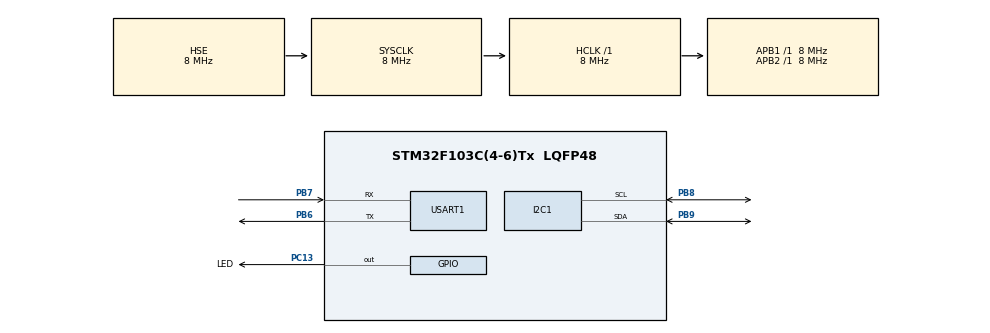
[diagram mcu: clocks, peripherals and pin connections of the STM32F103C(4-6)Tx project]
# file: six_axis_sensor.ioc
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Mcu.Family=STM32F1
Mcu.Name=STM32F103C(4-6)Tx
Mcu.Package=LQFP48
NVIC.PriorityGroup=NVIC_PRIORITYGROUP_4
PA13.Mode=Serial_Wire
PA13.Signal=SYS_JTMS-SWDIO
PA14.Mode=Serial_Wire
PA14.Signal=SYS_JTCK-SWCLK
PB6.Mode=Asynchronous
PB6.Signal=USART1_TX
PB7.Mode=Asynchronous
PB7.Signal=USART1_RX
PB8.Mode=I2C
PB8.Signal=I2C1_SCL
PB9.Mode=I2C
PB9.Signal=I2C1_SDA
PC13-TAMPER-RTC.GPIO_Label=LED
PC13-TAMPER-RTC.Signal=GPIO_Output
PD0-OSC_IN.Mode=HSE-External-Oscillator
PD0-OSC_IN.Signal=RCC_OSC_IN
PD1-OSC_OUT.Mode=HSE-External-Oscillator
PD1-OSC_OUT.Signal=RCC_OSC_OUT
ProjectManager.HeapSize=0x200
ProjectManager.StackSize=0x400
ProjectManager.TargetToolchain=Makefile
RCC.AHBFreq_Value=8000000
RCC.APB1Freq_Value=8000000
RCC.APB1TimFreq_Value=8000000
RCC.APB2Freq_Value=8000000
RCC.APB2TimFreq_Value=8000000
RCC.HCLKFreq_Value=8000000
RCC.PLLSourceVirtual=RCC_PLLSOURCE_HSE
RCC.SYSCLKFreq_VALUE=8000000
RCC.SYSCLKSource=RCC_SYSCLKSOURCE_HSE
RCC.USBFreq_Value=16000000
USART1.VirtualMode=VM_ASYNC
board=custom

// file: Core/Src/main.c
/* USER CODE BEGIN Header */
/**
  ******************************************************************************
  * @author         :Sarthak Chaudhary
  * @file           : main.c
  * @brief          : Main program body
  * @date           : Oct 23, 2024
  ******************************************************************************
  * @attention
  *
  * Copyright (c) 2024 STMicroelectronics.
  * All rights reserved.
  *
  * This software is licensed under terms that can be found in the LICENSE file
  * in the root directory of this software component.
  * If no LICENSE file comes with this software, it is provided AS-IS.
  *
  ******************************************************************************
  */
/* USER CODE END Header */
#include "main.h"
#include "i2c.h"
#include "usart.h"
#include "gpio.h"
#include <stdio.h>
#include "lsm6ds0.h"

/* USER CODE BEGIN Includes */
// #define LSM6DS0_ADDR        0xD6 // Change this if your I2C address is different D7 for read and D6 for write
// #define WHO_AM_I            0x0F
// #define CTRL_REG2_G         0x11
// #define CTRL_REG1_XL        0x10

// /* Accelerometer*/
// #define OUT_X_L_G           0x22    //22
// #define OUT_X_L_XL          0x28
// #define OUT_X_H_XL          0x29
// #define OUT_Y_L_XL          0x2A
// #define OUT_Y_H_XL          0x2B
// #define OUT_Z_L_XL          0x2C
// #define OUT_Z_H_XL          0x2D

// /* Gyroscope*/
// #define LSM6DS0_OUT_X_G_L							0x22
// #define LSM6DS0_OUT_X_G_H							0x23
// #define LSM6DS0_OUT_Y_G_L							0x24
// #define LSM6DS0_OUT_Y_G_H							0x25
// #define LSM6DS0_OUT_Z_G_L							0x26
// #define LSM6DS0_OUT_Z_G_H							0x27

// /* Temperature*/
// #define OUT_TEMP_L          0X20
// #define OUT_TEMP_H          0X21

// #define STATUS_REG          0x1E

/* USER CODE END Includes */

/* USER CODE BEGIN PTD */
int _write(int file, char *data, int len) {
    HAL_UART_Transmit(&huart1, (uint8_t*)data, len, HAL_MAX_DELAY);
    return len;
}
void dissectFloat(float value, int *intPart, int *fracPart, int decimalPlaces) {
    *intPart = (int)value;  // Extract the integer part
    *fracPart = (int)((fabs(value - *intPart)) * pow(10, decimalPlaces));  // Extract the fractional part

    // If fractional part is negative, make it positive
    if (*fracPart < 0) {
        *fracPart = -(*fracPart);
    }
}
/* USER CODE END PTD */

/* USER CODE BEGIN PD */

// int LSM6DS0_begin(void){
//   uint8_t data=0;

//     // Check WHO_AM_I register
//   HAL_I2C_Mem_Read(&hi2c1, 0xD7, WHO_AM_I, 1, &data, 1, HAL_MAX_DELAY);
//   if (data != 0x6C) {
//       // Handle error
//       // HAL_GPIO_WritePin(LED_GPIO_Port,LED_Pin,SET);
//     return 0;

//   }
//   return 1;
// }
// void LSM6DS0_Init(void) {
//     uint8_t data=0;

//     // Initialize Gyroscope
//     data = 0x6C; // 416 Hz, 2000 dps
//     HAL_I2C_Mem_Write(&hi2c1, LSM6DS0_ADDR, CTRL_REG2_G, 1, &data, 1, HAL_MAX_DELAY);

//     // Initialize Accelerometer
//     // HAL_I2C_Mem_Write(&hi2c1, LSM6DS0_ADDR, CTRL_REG1_XL, 1, &data1, 1, HAL_MAX_DELAY);
//     data = 0x60; // 416 Hz, +/- 2g
//     HAL_I2C_Mem_Write(&hi2c1, LSM6DS0_ADDR, CTRL_REG1_XL, 1, &data, 1, HAL_MAX_DELAY);
// }
// int check_Gyro_Init(){
//   uint8_t data=0;

//     // Check WHO_AM_I register
//   HAL_I2C_Mem_Read(&hi2c1, 0xD7, CTRL_REG2_G, 1, &data, 1, HAL_MAX_DELAY);
//   if(data !=0x6C){
//     return 0;
//   }else{
//     return 1;
//   }

// }
// int check_XL_Init(){
//   uint8_t data=0;

//     // Check WHO_AM_I register
//   HAL_I2C_Mem_Read(&hi2c1, 0xD7, CTRL_REG1_XL, 1, &data, 1, HAL_MAX_DELAY);
//   if(data !=0x60){
//     return 0;
//   }else{
//     return 1;
//   }

// }

// float LSM6DS0_ReadTemperature_C() {

// 	  uint8_t Out_Temp_L = 0;
// 	  uint8_t Out_Temp_H = 0;
//     uint16_t Raw_Temp=0;
//     float degreeCelsius =0;

//     HAL_I2C_Mem_Read(&hi2c1, LSM6DS0_ADDR,OUT_TEMP_L, I2C_MEMADD_SIZE_8BIT, &Out_Temp_L, 1, HAL_MAX_DELAY);
//     HAL_I2C_Mem_Read(&hi2c1, LSM6DS0_ADDR,OUT_TEMP_H, I2C_MEMADD_SIZE_8BIT, &Out_Temp_H, 1, HAL_MAX_DELAY);
//     Raw_Temp = ((Out_Temp_H<<8)| Out_Temp_L);
//     degreeCelsius = (float)Raw_Temp/256;
//     return (degreeCelsius);
// }

// float LSM6DS0_ReadGyro_X() {
//     uint8_t Out_X_G_L = 0;
// 	  uint8_t Out_X_G_H = 0;
//     int16_t Raw_X = 0;
//     float Gyro_X = 0;

//     HAL_I2C_Mem_Read(&hi2c1, LSM6DS0_ADDR, LSM6DS0_OUT_X_G_L, I2C_MEMADD_SIZE_8BIT, &Out_X_G_L, 1, HAL_MAX_DELAY);
//     HAL_I2C_Mem_Read(&hi2c1, LSM6DS0_ADDR, LSM6DS0_OUT_X_G_H, I2C_MEMADD_SIZE_8BIT, &Out_X_G_H, 1, HAL_MAX_DELAY);
//     Raw_X = ((Out_X_G_H<<8)| Out_X_G_L);
//     Gyro_X = (float)Raw_X*70;
//     return (Gyro_X);
// }
// float LSM6DS0_ReadGyro_Y() {
//     uint8_t Out_Y_G_L = 0;
// 	  uint8_t Out_Y_G_H = 0;
//     int16_t Raw_Y = 0;
//     float Gyro_Y = 0;

//     HAL_I2C_Mem_Read(&hi2c1, LSM6DS0_ADDR, LSM6DS0_OUT_Y_G_L, I2C_MEMADD_SIZE_8BIT, &Out_Y_G_L, 1, HAL_MAX_DELAY);
//     HAL_I2C_Mem_Read(&hi2c1, LSM6DS0_ADDR, LSM6DS0_OUT_Y_G_H, I2C_MEMADD_SIZE_8BIT, &Out_Y_G_H, 1, HAL_MAX_DELAY);
//     Raw_Y = ((Out_Y_G_H<<8)| Out_Y_G_L);
//     Gyro_Y = (float)Raw_Y*70;
//     return (Gyro_Y);
// }
// float LSM6DS0_ReadGyro_Z() {
//     uint8_t Out_Z_G_L = 0;
// 	  uint8_t Out_Z_G_H = 0;
//     int16_t Raw_Z = 0;
//     float Gyro_Z = 0;

//     HAL_I2C_Mem_Read(&hi2c1, LSM6DS0_ADDR, LSM6DS0_OUT_Z_G_L, I2C_MEMADD_SIZE_8BIT, &Out_Z_G_L, 1, HAL_MAX_DELAY);
//     HAL_I2C_Mem_Read(&hi2c1, LSM6DS0_ADDR, LSM6DS0_OUT_Z_G_H, I2C_MEMADD_SIZE_8BIT, &Out_Z_G_H, 1, HAL_MAX_DELAY);
//     Raw_Z = ((Out_Z_G_H<<8)| Out_Z_G_L);
//     Gyro_Z = (float)Raw_Z*70;
//     return (Gyro_Z);
// }

// float LSM6DS0_ReadAccel_X(void) {
//     uint8_t Out_X_XL_L = 0;
// 	  uint8_t Out_X_XL_H = 0;
//     int16_t Raw_X = 0;
//     float Acceleration_X = 0;

//     HAL_I2C_Mem_Read(&hi2c1, LSM6DS0_ADDR, OUT_X_L_XL, I2C_MEMADD_SIZE_8BIT, &Out_X_XL_L, 1, HAL_MAX_DELAY);
//     HAL_I2C_Mem_Read(&hi2c1, LSM6DS0_ADDR, OUT_X_H_XL, I2C_MEMADD_SIZE_8BIT, &Out_X_XL_H, 1, HAL_MAX_DELAY);

//     Raw_X = ((Out_X_XL_H << 8) | Out_X_XL_L);
//     Acceleration_X = (float)Raw_X*0.061f;
//     return (Acceleration_X);
// }
// float LSM6DS0_ReadAccel_Y(void) {
//     uint8_t Out_Y_XL_L = 0;
// 	  uint8_t Out_Y_XL_H = 0;
//     int16_t Raw_Y = 0;
//     float Acceleration_Y = 0;

//     HAL_I2C_Mem_Read(&hi2c1, LSM6DS0_ADDR, OUT_Y_L_XL, I2C_MEMADD_SIZE_8BIT, &Out_Y_XL_L, 1, HAL_MAX_DELAY);
//     HAL_I2C_Mem_Read(&hi2c1, LSM6DS0_ADDR, OUT_Y_H_XL, I2C_MEMADD_SIZE_8BIT, &Out_Y_XL_H, 1, HAL_MAX_DELAY);

//     Raw_Y = ((Out_Y_XL_H << 8) | Out_Y_XL_L);
//     Acceleration_Y = (float)Raw_Y*0.061f;
//     return (Acceleration_Y);
// }
// float LSM6DS0_ReadAccel_Z(void) {
//     uint8_t Out_Z_XL_L = 0;
// 	  uint8_t Out_Z_XL_H = 0;
//     int16_t Raw_Z = 0;
//     float Acceleration_Z = 0;

//     HAL_I2C_Mem_Read(&hi2c1, LSM6DS0_ADDR, OUT_Z_L_XL, I2C_MEMADD_SIZE_8BIT, &Out_Z_XL_L, 1, HAL_MAX_DELAY);
//     HAL_I2C_Mem_Read(&hi2c1, LSM6DS0_ADDR, OUT_Z_H_XL, I2C_MEMADD_SIZE_8BIT, &Out_Z_XL_H, 1, HAL_MAX_DELAY);

//     Raw_Z = ((Out_Z_XL_H << 8) | Out_Z_XL_L);
//     Acceleration_Z = (float)Raw_Z*0.061f;
//     return (Acceleration_Z);
// }

/* USER CODE END PD */

void SystemClock_Config(void);

int main(void)
{

  /* MCU Configuration--------------------------------------------------------*/

  /* Reset of all peripherals, Initializes the Flash interface and the Systick. */
  HAL_Init();

  /* Configure the system clock */
  SystemClock_Config();

  /* Initialize all configured peripherals */
  MX_GPIO_Init();
  MX_I2C1_Init();
  MX_USART1_UART_Init();
  /* USER CODE BEGIN 2 */
  if(LSM6DS0_begin()==0){
        printf("LSM_not_found\r\n");
  }else{
        printf("LSM_found..\r\n");
        printf("initializing six axis sensor....\r\n");
   }
  LSM6DS0_Init();
  if (check_Gyro_Init()!=1){
    printf("gyro_init_failed\r\n");
  }else{
    printf("gyro_init_successful\r\n");
  }
  if(check_XL_Init()!=1){
    printf("XL_init_failed\r\n");
  }
  else{
    printf("XL_init_successfull\r\n");
  }

  /* USER CODE END 2 */

  /* Infinite loop */
  /* USER CODE BEGIN WHILE */

    float Temp;
    float gyro_data[3];
    float accel_data[3];
    int i;
    int intPart,fracPart;
    // uint8_t status;
    // HAL_I2C_Mem_Read(&hi2c1, LSM6DS0_ADDR, STATUS_REG, 1, &status, 6, HAL_MAX_DELAY);
  while (1)
  {
    // if(LSM6DS0_begin()==0){
    //     printf("LSM_not_found\r\n");
    // }else{
    //     printf("LSM_found..\r\n");
    //     printf("initializing six axis sensor....\r\n");
    // }

    // printf("hellow\r\n");
      gyro_data[0]= LSM6DS0_ReadGyro_X();
      gyro_data[1]= LSM6DS0_ReadGyro_Y();
      gyro_data[2]= LSM6DS0_ReadGyro_Z();

      accel_data[0]=LSM6DS0_ReadAccel_X();
      accel_data[1]=LSM6DS0_ReadAccel_Y();
      accel_data[2]=LSM6DS0_ReadAccel_Z();

      // Temp = LSM6DS0_ReadTemperature_C();
      // printf("Temp :%d\r\n",(int)Temp);
      // for(i=0; i < 4 ; i++)
      // {
      //   dissectFloat(gyro_data[i], &intPart, &fracPart, 1);
      //   if (i==0)
      //   {
      //   printf("gyro_x = %d.%01d \r\n", intPart, fracPart);
      //   }
      //   if (i==1)
      //   {
      //   printf("gyro_y= %d.%01d \r\n", intPart, fracPart);
      //   }
      //   if (i==2)
      //   {
      //   printf("gyro_z= %d.%01d \r\n", intPart, fracPart);
      //   printf("-----------------\r\n");
      //   }

      // }
      // HAL_Delay(1000);

    //   dissectFloat(bus_vol, &intPart, &fracPart, 3);
    // printf("Bus_voltage = %d.%03d \r\n", intPart, fracPart);
      // printf("Gyro: X=%d Y=%d Z=%d\r\n",(int)gyro_data[0],(int)gyro_data[1],(int)gyro_data[2]);
      printf("Accel: X=%d Y=%d Z=%d\r\n",(int)accel_data[0],(int)accel_data[1],(int)accel_data[2]);
      HAL_Delay(1000);

    /* USER CODE END WHILE */

  }
}

void SystemClock_Config(void)
{
  RCC_OscInitTypeDef RCC_OscInitStruct = {0};
  RCC_ClkInitTypeDef RCC_ClkInitStruct = {0};

  /** Initializes the RCC Oscillators according to the specified parameters
  * in the RCC_OscInitTypeDef structure.
  */
  RCC_OscInitStruct.OscillatorType = RCC_OSCILLATORTYPE_HSE;
  RCC_OscInitStruct.HSEState = RCC_HSE_ON;
  RCC_OscInitStruct.PLL.PLLState = RCC_PLL_NONE;
  if (HAL_RCC_OscConfig(&RCC_OscInitStruct) != HAL_OK)
  {
    Error_Handler();
  }

  /** Initializes the CPU, AHB and APB buses clocks
  */
  RCC_ClkInitStruct.ClockType = RCC_CLOCKTYPE_HCLK|RCC_CLOCKTYPE_SYSCLK
                              |RCC_CLOCKTYPE_PCLK1|RCC_CLOCKTYPE_PCLK2;
  RCC_ClkInitStruct.SYSCLKSource = RCC_SYSCLKSOURCE_HSE;
  RCC_ClkInitStruct.AHBCLKDivider = RCC_SYSCLK_DIV1;
  RCC_ClkInitStruct.APB1CLKDivider = RCC_HCLK_DIV1;
  RCC_ClkInitStruct.APB2CLKDivider = RCC_HCLK_DIV1;

  if (HAL_RCC_ClockConfig(&RCC_ClkInitStruct, FLASH_LATENCY_0) != HAL_OK)
  {
    Error_Handler();
  }
}

void Error_Handler(void)
{
  __disable_irq();
  while (1)
  {
  }
}
